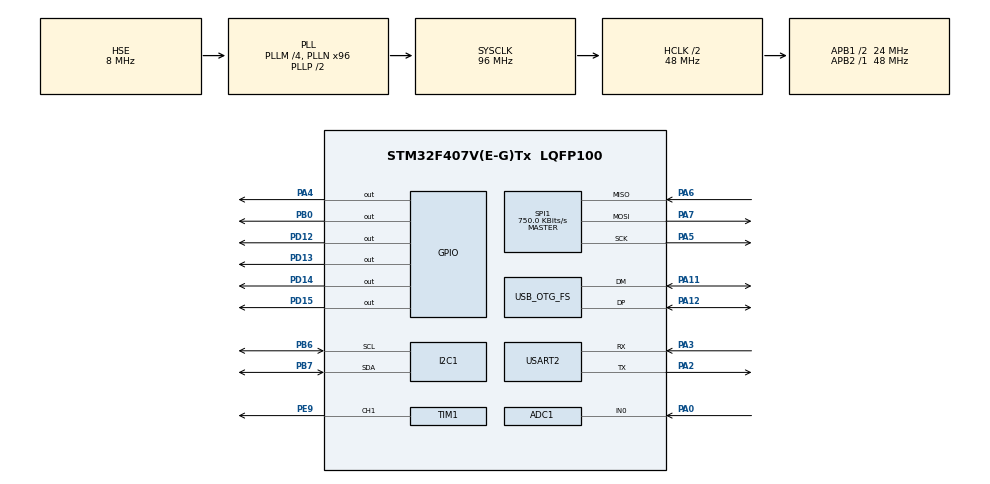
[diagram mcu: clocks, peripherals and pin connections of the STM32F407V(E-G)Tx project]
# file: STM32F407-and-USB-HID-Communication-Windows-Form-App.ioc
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ADC1.Channel-0\#ChannelRegularConversion=ADC_CHANNEL_0
ADC1.NbrOfConversionFlag=1
ADC1.Rank-0\#ChannelRegularConversion=1
ADC1.SamplingTime-0\#ChannelRegularConversion=ADC_SAMPLETIME_3CYCLES
ADC1.master=1
Mcu.Family=STM32F4
Mcu.Name=STM32F407V(E-G)Tx
Mcu.Package=LQFP100
NVIC.OTG_FS_IRQn=true\:0\:0\:false\:false\:true\:false\:true\:true
NVIC.PriorityGroup=NVIC_PRIORITYGROUP_4
PA0-WKUP.Signal=ADCx_IN0
PA11.Mode=Device_Only
PA11.Signal=USB_OTG_FS_DM
PA12.Mode=Device_Only
PA12.Signal=USB_OTG_FS_DP
PA13.Mode=Serial_Wire
PA13.Signal=SYS_JTMS-SWDIO
PA14.Mode=Serial_Wire
PA14.Signal=SYS_JTCK-SWCLK
PA2.Mode=Asynchronous
PA2.Signal=USART2_TX
PA3.Mode=Asynchronous
PA3.Signal=USART2_RX
PA4.Signal=GPIO_Output
PA5.Mode=Full_Duplex_Master
PA5.Signal=SPI1_SCK
PA6.Mode=Full_Duplex_Master
PA6.Signal=SPI1_MISO
PA7.Mode=Full_Duplex_Master
PA7.Signal=SPI1_MOSI
PB0.Signal=GPIO_Output
PB6.Mode=I2C
PB6.Signal=I2C1_SCL
PB7.Mode=I2C
PB7.Signal=I2C1_SDA
PD12.Signal=GPIO_Output
PD13.Signal=GPIO_Output
PD14.Signal=GPIO_Output
PD15.Signal=GPIO_Output
PE9.Signal=S_TIM1_CH1
PH0-OSC_IN.Mode=HSE-External-Oscillator
PH0-OSC_IN.Signal=RCC_OSC_IN
PH1-OSC_OUT.Mode=HSE-External-Oscillator
PH1-OSC_OUT.Signal=RCC_OSC_OUT
ProjectManager.HeapSize=0x200
ProjectManager.StackSize=0x400
ProjectManager.TargetToolchain=STM32CubeIDE
RCC.48MHZClocksFreq_Value=48000000
RCC.AHBCLKDivider=RCC_SYSCLK_DIV2
RCC.AHBFreq_Value=48000000
RCC.APB1CLKDivider=RCC_HCLK_DIV2
RCC.APB1Freq_Value=24000000
RCC.APB1TimFreq_Value=48000000
RCC.APB2Freq_Value=48000000
RCC.APB2TimFreq_Value=48000000
RCC.CortexFreq_Value=48000000
RCC.HCLKFreq_Value=48000000
RCC.HSE_VALUE=8000000
RCC.HSI_VALUE=16000000
RCC.LSE_VALUE=32768
RCC.PLLM=4
RCC.PLLN=96
RCC.SYSCLKFreq_VALUE=96000000
RCC.SYSCLKSource=RCC_SYSCLKSOURCE_PLLCLK
RCC.VCOOutputFreq_Value=192000000
SH.ADCx_IN0.0=ADC1_IN0,IN0
SH.S_TIM1_CH1.0=TIM1_CH1,PWM Generation1 CH1
SPI1.BaudRatePrescaler=SPI_BAUDRATEPRESCALER_64
SPI1.CalculateBaudRate=750.0 KBits/s
SPI1.Direction=SPI_DIRECTION_2LINES
SPI1.Mode=SPI_MODE_MASTER
SPI1.VirtualType=VM_MASTER
TIM1.Channel-PWM\ Generation1\ CH1=TIM_CHANNEL_1
TIM1.Period=4095-1
TIM1.Prescaler=48-1
USART2.VirtualMode=VM_ASYNC
USB_DEVICE.CLASS_NAME_FS=CUSTOM_HID
USB_DEVICE.PID_CUSTOMHID_FS=2000 
USB_DEVICE.USBD_CUSTOMHID_OUTREPORT_BUF_SIZE-CUSTOM_HID_FS=64
USB_DEVICE.USBD_CUSTOM_HID_REPORT_DESC_SIZE-CUSTOM_HID_FS=33
USB_DEVICE.VID-CUSTOM_HID_FS=1001
USB_DEVICE.VirtualMode-CUSTOM_HID_FS=CustomHid
USB_DEVICE.VirtualModeFS=Custom_Hid_FS
USB_OTG_FS.VirtualMode=Device_Only
VP_USB_DEVICE_VS_USB_DEVICE_CUSTOM_HID_FS.Mode=CUSTOM_HID_FS
board=custom

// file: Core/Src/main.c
/* USER CODE BEGIN Header */
/**
 ******************************************************************************
 * @file           : main.c
 * @brief          : Main program body
 ******************************************************************************
 * @attention
 *
 * Copyright (c) 2023 STMicroelectronics.
 * All rights reserved.
 *
 * This software is licensed under terms that can be found in the LICENSE file
 * in the root directory of this software component.
 * If no LICENSE file comes with this software, it is provided AS-IS.
 *
 ******************************************************************************
 */
/* USER CODE END Header */
#include "main.h"
#include "usb_device.h"

/* USER CODE BEGIN Includes */

#include "usbd_custom_hid_if.h"
#include "stm32f1_rc522.h"
#include <stdio.h>
#include <string.h>

/* USER CODE END Includes */

ADC_HandleTypeDef hadc1;

I2C_HandleTypeDef hi2c1;

SPI_HandleTypeDef hspi1;

TIM_HandleTypeDef htim1;

UART_HandleTypeDef huart2;

/* USER CODE BEGIN PV */

extern USBD_HandleTypeDef hUsbDeviceFS;
uint8_t USB_RX_Buffer[64];
uint8_t USB_TX_Buffer[64];
uint16_t soundData;
uint16_t soundLevel;
#define LOWBYTE(v)   ((unsigned char) (v))
#define HIGHBYTE(v)  ((unsigned char) (((unsigned int) (v)) >> 8))

uint8_t status;
uint8_t str[MAX_LEN];
uint8_t serNum[5];

uint8_t gelen_data = 0;
uint8_t giden_data = 0;
/* USER CODE END PV */

void SystemClock_Config(void);
static void MX_GPIO_Init(void);
static void MX_ADC1_Init(void);
static void MX_SPI1_Init(void);
static void MX_TIM1_Init(void);
static void MX_I2C1_Init(void);
static void MX_USART2_UART_Init(void);

int main(void) {

	/* MCU Configuration--------------------------------------------------------*/

	/* Reset of all peripherals, Initializes the Flash interface and the Systick. */
	HAL_Init();

	/* Configure the system clock */
	SystemClock_Config();

	/* Initialize all configured peripherals */
	MX_GPIO_Init();
	MX_ADC1_Init();
	MX_SPI1_Init();
	MX_TIM1_Init();
	MX_USB_DEVICE_Init();
	MX_I2C1_Init();
	MX_USART2_UART_Init();
	/* USER CODE BEGIN 2 */

	MFRC522_Init();
	HAL_TIM_PWM_Start(&htim1, TIM_CHANNEL_1);

	/* USER CODE END 2 */

	/* Infinite loop */
	while (1) {

		/* USER CODE BEGIN 3 */

		HAL_ADC_Start(&hadc1);
		HAL_ADC_PollForConversion(&hadc1, 100);
		soundLevel = HAL_ADC_GetValue(&hadc1);
		HAL_ADC_Stop(&hadc1);

		USB_TX_Buffer[0] = LOWBYTE(soundLevel);
		USB_TX_Buffer[1] = HIGHBYTE(soundLevel);
		giden_data = 0;

		__HAL_TIM_SET_COMPARE(&htim1, TIM_CHANNEL_1, soundData);

		status = MFRC522_Request(PICC_REQIDL, str);
		status = MFRC522_Anticoll(str);
		memcpy(serNum, str, 5);

		soundData = 0;

		if (status == MI_OK) {

			if ((serNum[0] == 195) || (serNum[1] == 179) || (serNum[2] == 192)
					|| (serNum[3] == 28) || (serNum[4] == 172)) {
				HAL_GPIO_WritePin(GPIOD, GPIO_PIN_15, 1);
				USB_TX_Buffer[3] = 1;
				giden_data = 1;
				HAL_UART_Transmit(&huart2, "Bekirhan", 8, 10);
				soundData = soundLevel;
				HAL_Delay(100);
			} else if ((str[0] == 35) || (str[1] == 67) || (str[2] == 252)
					|| (str[3] == 174) || (str[4] == 50)) {
				HAL_GPIO_WritePin(GPIOD, GPIO_PIN_15, 1);
				USB_TX_Buffer[3] = 2;
				giden_data = 1;
				HAL_UART_Transmit(&huart2, "Mert", 4, 10);
				soundData = soundLevel;
				HAL_Delay(100);
			} else if ((str[0] == 64) || (str[1] == 68) || (str[2] == 91)
					|| (str[3] == 10) || (str[4] == 85)) {
				HAL_GPIO_WritePin(GPIOD, GPIO_PIN_15, 1);
				USB_TX_Buffer[3] = 3;
				giden_data = 1;
				HAL_UART_Transmit(&huart2, "Jack", 5, 10);
				soundData = soundLevel;
				HAL_Delay(100);
			} else {
				USB_TX_Buffer[3] = 0;
			}
		}

		USBD_CUSTOM_HID_SendReport(&hUsbDeviceFS, USB_TX_Buffer, 64);

		if (USB_RX_Buffer[0] == 1) {
			HAL_GPIO_WritePin(GPIOD, GPIO_PIN_12, GPIO_PIN_SET);
			soundData = soundLevel;
			giden_data = 1;
		} else {
			HAL_GPIO_WritePin(GPIOD, GPIO_PIN_13, GPIO_PIN_RESET);
		}

		if (USB_RX_Buffer[1] == 1) {
			HAL_GPIO_WritePin(GPIOD, GPIO_PIN_12, GPIO_PIN_SET);
			soundData = soundLevel;
			HAL_Delay(100);
		} else {
			HAL_GPIO_WritePin(GPIOD, GPIO_PIN_13, GPIO_PIN_RESET);
		}
		HAL_I2C_Master_Receive(&hi2c1, 0x37 << 1, &gelen_data, 1, 100);
		HAL_I2C_Master_Transmit(&hi2c1, 0x37 << 1, &giden_data, 1, 100);

	}
	/* USER CODE END 3 */
}

void SystemClock_Config(void) {
	RCC_OscInitTypeDef RCC_OscInitStruct = { 0 };
	RCC_ClkInitTypeDef RCC_ClkInitStruct = { 0 };

	/** Configure the main internal regulator output voltage
	 */
	__HAL_RCC_PWR_CLK_ENABLE();
	__HAL_PWR_VOLTAGESCALING_CONFIG(PWR_REGULATOR_VOLTAGE_SCALE1);

	/** Initializes the RCC Oscillators according to the specified parameters
	 * in the RCC_OscInitTypeDef structure.
	 */
	RCC_OscInitStruct.OscillatorType = RCC_OSCILLATORTYPE_HSE;
	RCC_OscInitStruct.HSEState = RCC_HSE_ON;
	RCC_OscInitStruct.PLL.PLLState = RCC_PLL_ON;
	RCC_OscInitStruct.PLL.PLLSource = RCC_PLLSOURCE_HSE;
	RCC_OscInitStruct.PLL.PLLM = 4;
	RCC_OscInitStruct.PLL.PLLN = 96;
	RCC_OscInitStruct.PLL.PLLP = RCC_PLLP_DIV2;
	RCC_OscInitStruct.PLL.PLLQ = 4;
	if (HAL_RCC_OscConfig(&RCC_OscInitStruct) != HAL_OK) {
		Error_Handler();
	}

	/** Initializes the CPU, AHB and APB buses clocks
	 */
	RCC_ClkInitStruct.ClockType = RCC_CLOCKTYPE_HCLK | RCC_CLOCKTYPE_SYSCLK
			| RCC_CLOCKTYPE_PCLK1 | RCC_CLOCKTYPE_PCLK2;
	RCC_ClkInitStruct.SYSCLKSource = RCC_SYSCLKSOURCE_PLLCLK;
	RCC_ClkInitStruct.AHBCLKDivider = RCC_SYSCLK_DIV2;
	RCC_ClkInitStruct.APB1CLKDivider = RCC_HCLK_DIV2;
	RCC_ClkInitStruct.APB2CLKDivider = RCC_HCLK_DIV1;

	if (HAL_RCC_ClockConfig(&RCC_ClkInitStruct, FLASH_LATENCY_1) != HAL_OK) {
		Error_Handler();
	}
}

static void MX_ADC1_Init(void) {

	ADC_ChannelConfTypeDef sConfig = { 0 };

	/** Configure the global features of the ADC (Clock, Resolution, Data Alignment and number of conversion)
	 */
	hadc1.Instance = ADC1;
	hadc1.Init.ClockPrescaler = ADC_CLOCK_SYNC_PCLK_DIV2;
	hadc1.Init.Resolution = ADC_RESOLUTION_12B;
	hadc1.Init.ScanConvMode = DISABLE;
	hadc1.Init.ContinuousConvMode = DISABLE;
	hadc1.Init.DiscontinuousConvMode = DISABLE;
	hadc1.Init.ExternalTrigConvEdge = ADC_EXTERNALTRIGCONVEDGE_NONE;
	hadc1.Init.ExternalTrigConv = ADC_SOFTWARE_START;
	hadc1.Init.DataAlign = ADC_DATAALIGN_RIGHT;
	hadc1.Init.NbrOfConversion = 1;
	hadc1.Init.DMAContinuousRequests = DISABLE;
	hadc1.Init.EOCSelection = ADC_EOC_SINGLE_CONV;
	if (HAL_ADC_Init(&hadc1) != HAL_OK) {
		Error_Handler();
	}

	/** Configure for the selected ADC regular channel its corresponding rank in the sequencer and its sample time.
	 */
	sConfig.Channel = ADC_CHANNEL_0;
	sConfig.Rank = 1;
	sConfig.SamplingTime = ADC_SAMPLETIME_3CYCLES;
	if (HAL_ADC_ConfigChannel(&hadc1, &sConfig) != HAL_OK) {
		Error_Handler();
	}

}

static void MX_I2C1_Init(void) {

	hi2c1.Instance = I2C1;
	hi2c1.Init.ClockSpeed = 100000;
	hi2c1.Init.DutyCycle = I2C_DUTYCYCLE_2;
	hi2c1.Init.OwnAddress1 = 0;
	hi2c1.Init.AddressingMode = I2C_ADDRESSINGMODE_7BIT;
	hi2c1.Init.DualAddressMode = I2C_DUALADDRESS_DISABLE;
	hi2c1.Init.OwnAddress2 = 0;
	hi2c1.Init.GeneralCallMode = I2C_GENERALCALL_DISABLE;
	hi2c1.Init.NoStretchMode = I2C_NOSTRETCH_DISABLE;
	if (HAL_I2C_Init(&hi2c1) != HAL_OK) {
		Error_Handler();
	}

}

static void MX_SPI1_Init(void) {

	/* SPI1 parameter configuration*/
	hspi1.Instance = SPI1;
	hspi1.Init.Mode = SPI_MODE_MASTER;
	hspi1.Init.Direction = SPI_DIRECTION_2LINES;
	hspi1.Init.DataSize = SPI_DATASIZE_8BIT;
	hspi1.Init.CLKPolarity = SPI_POLARITY_LOW;
	hspi1.Init.CLKPhase = SPI_PHASE_1EDGE;
	hspi1.Init.NSS = SPI_NSS_SOFT;
	hspi1.Init.BaudRatePrescaler = SPI_BAUDRATEPRESCALER_64;
	hspi1.Init.FirstBit = SPI_FIRSTBIT_MSB;
	hspi1.Init.TIMode = SPI_TIMODE_DISABLE;
	hspi1.Init.CRCCalculation = SPI_CRCCALCULATION_DISABLE;
	hspi1.Init.CRCPolynomial = 10;
	if (HAL_SPI_Init(&hspi1) != HAL_OK) {
		Error_Handler();
	}

}

static void MX_TIM1_Init(void) {

	TIM_MasterConfigTypeDef sMasterConfig = { 0 };
	TIM_OC_InitTypeDef sConfigOC = { 0 };
	TIM_BreakDeadTimeConfigTypeDef sBreakDeadTimeConfig = { 0 };

	htim1.Instance = TIM1;
	htim1.Init.Prescaler = 48 - 1;
	htim1.Init.CounterMode = TIM_COUNTERMODE_UP;
	htim1.Init.Period = 4095 - 1;
	htim1.Init.ClockDivision = TIM_CLOCKDIVISION_DIV1;
	htim1.Init.RepetitionCounter = 0;
	htim1.Init.AutoReloadPreload = TIM_AUTORELOAD_PRELOAD_DISABLE;
	if (HAL_TIM_PWM_Init(&htim1) != HAL_OK) {
		Error_Handler();
	}
	sMasterConfig.MasterOutputTrigger = TIM_TRGO_RESET;
	sMasterConfig.MasterSlaveMode = TIM_MASTERSLAVEMODE_DISABLE;
	if (HAL_TIMEx_MasterConfigSynchronization(&htim1, &sMasterConfig)
			!= HAL_OK) {
		Error_Handler();
	}
	sConfigOC.OCMode = TIM_OCMODE_PWM1;
	sConfigOC.Pulse = 0;
	sConfigOC.OCPolarity = TIM_OCPOLARITY_HIGH;
	sConfigOC.OCNPolarity = TIM_OCNPOLARITY_HIGH;
	sConfigOC.OCFastMode = TIM_OCFAST_DISABLE;
	sConfigOC.OCIdleState = TIM_OCIDLESTATE_RESET;
	sConfigOC.OCNIdleState = TIM_OCNIDLESTATE_RESET;
	if (HAL_TIM_PWM_ConfigChannel(&htim1, &sConfigOC, TIM_CHANNEL_1)
			!= HAL_OK) {
		Error_Handler();
	}
	sBreakDeadTimeConfig.OffStateRunMode = TIM_OSSR_DISABLE;
	sBreakDeadTimeConfig.OffStateIDLEMode = TIM_OSSI_DISABLE;
	sBreakDeadTimeConfig.LockLevel = TIM_LOCKLEVEL_OFF;
	sBreakDeadTimeConfig.DeadTime = 0;
	sBreakDeadTimeConfig.BreakState = TIM_BREAK_DISABLE;
	sBreakDeadTimeConfig.BreakPolarity = TIM_BREAKPOLARITY_HIGH;
	sBreakDeadTimeConfig.AutomaticOutput = TIM_AUTOMATICOUTPUT_DISABLE;
	if (HAL_TIMEx_ConfigBreakDeadTime(&htim1, &sBreakDeadTimeConfig)
			!= HAL_OK) {
		Error_Handler();
	}
	HAL_TIM_MspPostInit(&htim1);

}

static void MX_USART2_UART_Init(void) {

	huart2.Instance = USART2;
	huart2.Init.BaudRate = 115200;
	huart2.Init.WordLength = UART_WORDLENGTH_8B;
	huart2.Init.StopBits = UART_STOPBITS_1;
	huart2.Init.Parity = UART_PARITY_NONE;
	huart2.Init.Mode = UART_MODE_TX_RX;
	huart2.Init.HwFlowCtl = UART_HWCONTROL_NONE;
	huart2.Init.OverSampling = UART_OVERSAMPLING_16;
	if (HAL_UART_Init(&huart2) != HAL_OK) {
		Error_Handler();
	}

}

static void MX_GPIO_Init(void) {
	GPIO_InitTypeDef GPIO_InitStruct = { 0 };

	/* GPIO Ports Clock Enable */
	__HAL_RCC_GPIOH_CLK_ENABLE();
	__HAL_RCC_GPIOA_CLK_ENABLE();
	__HAL_RCC_GPIOB_CLK_ENABLE();
	__HAL_RCC_GPIOE_CLK_ENABLE();
	__HAL_RCC_GPIOD_CLK_ENABLE();

	/*Configure GPIO pin Output Level */
	HAL_GPIO_WritePin(GPIOA, GPIO_PIN_4, GPIO_PIN_RESET);

	/*Configure GPIO pin Output Level */
	HAL_GPIO_WritePin(GPIOB, GPIO_PIN_0, GPIO_PIN_RESET);

	/*Configure GPIO pin Output Level */
	HAL_GPIO_WritePin(GPIOD,
	GPIO_PIN_12 | GPIO_PIN_13 | GPIO_PIN_14 | GPIO_PIN_15, GPIO_PIN_RESET);

	/*Configure GPIO pin : PA4 */
	GPIO_InitStruct.Pin = GPIO_PIN_4;
	GPIO_InitStruct.Mode = GPIO_MODE_OUTPUT_PP;
	GPIO_InitStruct.Pull = GPIO_NOPULL;
	GPIO_InitStruct.Speed = GPIO_SPEED_FREQ_LOW;
	HAL_GPIO_Init(GPIOA, &GPIO_InitStruct);

	/*Configure GPIO pin : PB0 */
	GPIO_InitStruct.Pin = GPIO_PIN_0;
	GPIO_InitStruct.Mode = GPIO_MODE_OUTPUT_PP;
	GPIO_InitStruct.Pull = GPIO_NOPULL;
	GPIO_InitStruct.Speed = GPIO_SPEED_FREQ_LOW;
	HAL_GPIO_Init(GPIOB, &GPIO_InitStruct);

	/*Configure GPIO pins : PD12 PD13 PD14 PD15 */
	GPIO_InitStruct.Pin = GPIO_PIN_12 | GPIO_PIN_13 | GPIO_PIN_14 | GPIO_PIN_15;
	GPIO_InitStruct.Mode = GPIO_MODE_OUTPUT_PP;
	GPIO_InitStruct.Pull = GPIO_NOPULL;
	GPIO_InitStruct.Speed = GPIO_SPEED_FREQ_LOW;
	HAL_GPIO_Init(GPIOD, &GPIO_InitStruct);

}

void Error_Handler(void) {
	__disable_irq();
	while (1) {
	}
}
